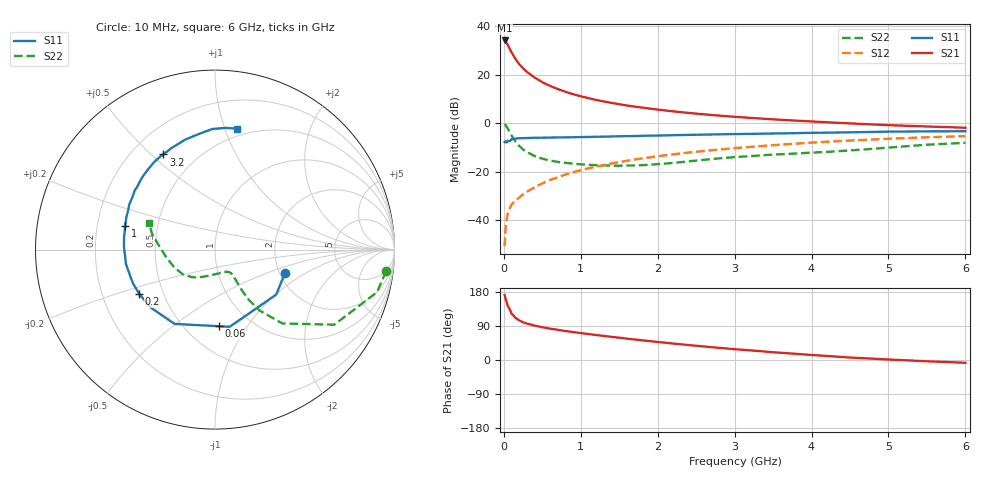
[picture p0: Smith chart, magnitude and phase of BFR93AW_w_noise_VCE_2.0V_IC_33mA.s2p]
! (c) 2017  Infineon Technologies AG, Munich
! Infineon Technologies  Discrete & RF Semiconductors
! BFR93AW
! VCE =  2.0 V,  IC =  33 mA
! Common Emitter S-Parameters:  Jan 2017
# GHz  S  MA  R  50
!  f  S11  S21  S12  S22
! GHz  MAG  ANG  MAG  ANG  MAG  ANG  MAG  ANG
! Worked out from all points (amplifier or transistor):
!   77 points, 10 MHz to 6 GHz, reference 50 ohm
!   highest |S21| = 34.2 dB at 10 MHz (marker M1)
!   |S21| within 3 dB of that: start of sweep to 69.79 MHz
!   unconditionally stable (mu >= 1): 474.3 MHz to 2.178 GHz
!   at 130 MHz: K = 0.59, MSG = 30.2 dB, |S12| = -32.6 dB
!   at 2.2 GHz: K = 1.00, MSG = 8.9 dB, |S12| = -12.8 dB
!   at 6 GHz: K = 0.92, MSG = 1.7 dB, |S12| = -5.3 dB
!   lowest NFmin = 1.88 dB at 450 MHz
!   S11 on the Smith chart (normalised r, x): 10 MHz: 2.13, -0.68; 60 MHz: 0.72, -0.75; 200 MHz: 0.36, -0.24; 1 GHz: 0.32, +0.12; 3.2 GHz: 0.33, +0.55; 6 GHz: 0.43, +1.10
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0.01  0.4109 -18.8  51.24 171.4  0.0029 77.8  0.9611 -7.2
0.02  0.4233 -36.3  50.17 163.3  0.0061 77.7  0.9335 -14.7
0.05  0.4377 -79.2  41.79 142.7  0.0135 68.5  0.7852 -32.2
0.06  0.4273 -87.2  38.94 139.7  0.0149 65.6  0.7363 -34.5
0.1  0.4713 -118.5  29.14 122.2  0.021 58.0  0.5576 -47.6
0.15  0.4827 -138.2  21.38 111.3  0.0252 57.9  0.4204 -53.8
0.2  0.4891 -149.8  16.66 104.5  0.0292 60.3  0.3396 -56.0
0.25  0.4939 -157.6  13.61 99.5  0.0342 61.2  0.2881 -56.5
0.3  0.4951 -163.1  11.46 96.1  0.0384 63.6  0.2526 -56.5
0.4  0.5025 -170.9  8.749 90.6  0.0476 66.9  0.21 -55.8
0.5  0.5027 -176.8  7.041 86.4  0.0572 68.4  0.1857 -55.3
0.6  0.507 178.8  5.916 82.8  0.0675 69.1  0.1698 -55.3
0.7  0.5094 174.9  5.088 79.7  0.0765 70.0  0.1595 -55.8
1  0.5188 165.3  3.609 71.1  0.1074 69.9  0.1418 -60.6
1.1  0.5212 162.3  3.299 68.5  0.1179 69.5  0.1389 -63.0
1.5  0.5391 152.5  2.468 58.8  0.1579 67.2  0.1329 -76.5
2.1  0.5617 139.1  1.838 45.6  0.2185 62.0  0.1472 -101.4
3.1  0.6009 120.2  1.326 27.0  0.3152 51.9  0.2045 -132.7
3.2  0.6036 118.5  1.294 25.5  0.3245 50.8  0.2093 -135.3
4.1  0.637 103.7  1.069 12.0  0.4065 41.0  0.2517 -159.5
5.1  0.6731 90.1  0.902 0.4  0.4849 29.8  0.3233 173.4
6  0.6855 79.7  0.808 -7.4  0.5427 19.8  0.3953 158.3
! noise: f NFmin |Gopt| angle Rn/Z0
0.45  1.88  0.2  177  0.16
0.9  2.14  0.27  -173  0.16
1.9  3.19  0.51  -134  0.3
2.4  3.85  0.56  -124  0.58
